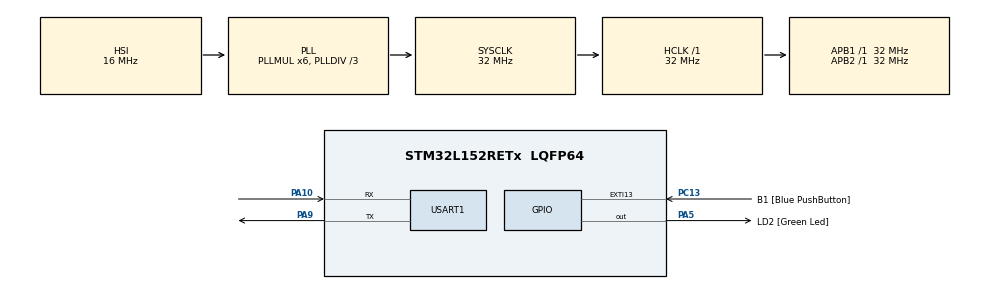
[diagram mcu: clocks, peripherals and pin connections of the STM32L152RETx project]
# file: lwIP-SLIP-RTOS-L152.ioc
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Dma.Request0=USART1_TX
Dma.USART1_TX.0.Direction=DMA_MEMORY_TO_PERIPH
Dma.USART1_TX.0.Instance=DMA1_Channel4
Dma.USART1_TX.0.MemDataAlignment=DMA_MDATAALIGN_BYTE
Dma.USART1_TX.0.MemInc=DMA_MINC_ENABLE
Dma.USART1_TX.0.Mode=DMA_NORMAL
Dma.USART1_TX.0.PeriphDataAlignment=DMA_PDATAALIGN_BYTE
Dma.USART1_TX.0.PeriphInc=DMA_PINC_DISABLE
Dma.USART1_TX.0.Priority=DMA_PRIORITY_LOW
FREERTOS.Tasks01=defaultTask,0,512,StartDefaultTask,Default,NULL,Dynamic,NULL,NULL
FREERTOS.configMINIMAL_STACK_SIZE=128
FREERTOS.configTOTAL_HEAP_SIZE=15360
FREERTOS.configUSE_NEWLIB_REENTRANT=1
Mcu.Family=STM32L1
Mcu.Name=STM32L152RETx
Mcu.Package=LQFP64
NVIC.DMA1_Channel4_IRQn=true\:5\:0\:false\:false\:true\:false\:false\:true\:true
NVIC.PriorityGroup=NVIC_PRIORITYGROUP_4
NVIC.TIM6_IRQn=true\:15\:0\:false\:false\:true\:false\:false\:true\:true
NVIC.TimeBase=TIM6_IRQn
NVIC.TimeBaseIP=TIM6
NVIC.USART1_IRQn=true\:0\:0\:true\:false\:true\:false\:true\:true\:true
PA10.Mode=Asynchronous
PA10.Signal=USART1_RX
PA13.GPIO_Label=TMS
PA13.Mode=Serial_Wire
PA13.Signal=SYS_JTMS-SWDIO
PA14.GPIO_Label=TCK
PA14.Mode=Serial_Wire
PA14.Signal=SYS_JTCK-SWCLK
PA2.GPIO_Label=USART_TX
PA2.Signal=USART2_TX
PA3.GPIO_Label=USART_RX
PA3.Signal=USART2_RX
PA5.GPIO_Label=LD2 [Green Led]
PA5.Signal=GPIO_Output
PA9.Mode=Asynchronous
PA9.Signal=USART1_TX
PB3.GPIO_Label=SWO
PB3.Signal=SYS_JTDO-TRACESWO
PC13-WKUP2.GPIO_Label=B1 [Blue PushButton]
PC13-WKUP2.Signal=GPXTI13
PC14-OSC32_IN.Mode=LSE-External-Oscillator
PC14-OSC32_IN.Signal=RCC_OSC32_IN
PC15-OSC32_OUT.Mode=LSE-External-Oscillator
PC15-OSC32_OUT.Signal=RCC_OSC32_OUT
PH0-OSC_IN.Mode=HSE-External-Clock-Source
PH0-OSC_IN.Signal=RCC_OSC_IN
PH1-OSC_OUT.Signal=RCC_OSC_OUT
ProjectManager.HeapSize=0x200
ProjectManager.StackSize=0x400
ProjectManager.TargetToolchain=STM32CubeIDE
RCC.48MHZClocksFreq_Value=48000000
RCC.AHBFreq_Value=32000000
RCC.APB1Freq_Value=32000000
RCC.APB1TimFreq_Value=32000000
RCC.APB2Freq_Value=32000000
RCC.APB2TimFreq_Value=32000000
RCC.HCLKFreq_Value=32000000
RCC.HSE_VALUE=8000000
RCC.HSI_VALUE=16000000
RCC.MSI_VALUE=2097000
RCC.PLLDIV=RCC_PLL_DIV3
RCC.PLLMUL=RCC_PLL_MUL6
RCC.RTCClockSelectionVirtual=RCC_RTCCLKSOURCE_LSE
RCC.SYSCLKFreq_VALUE=32000000
RCC.SYSCLKSource=RCC_SYSCLKSOURCE_PLLCLK
RCC.USBOutput=48000000
RCC.VCOOutputFreq_Value=96000000
USART1.VirtualMode=VM_ASYNC
VP_FREERTOS_VS_CMSIS_V1.Mode=CMSIS_V1
VP_SYS_VS_tim6.Mode=TIM6
board=NUCLEO-L152RE

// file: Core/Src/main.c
/* USER CODE BEGIN Header */
/**
  ******************************************************************************
  * @file           : main.c
  * @brief          : Main program body
  ******************************************************************************
  * @attention
  *
  * Copyright (c) 2025 STMicroelectronics.
  * All rights reserved.
  *
  * This software is licensed under terms that can be found in the LICENSE file
  * in the root directory of this software component.
  * If no LICENSE file comes with this software, it is provided AS-IS.
  *
  ******************************************************************************
  */
/* USER CODE END Header */
#include "main.h"
#include "cmsis_os.h"

/* USER CODE BEGIN Includes */
#include "lwip.h"
#include <string.h>
#include <stdio.h>
#include "pbuf.h"
#include "tcp.h"
#include "udp.h"
#include "lwip/apps/httpd.h"
#include "api.h"
#include "fs.h"
/* USER CODE END Includes */

/* USER CODE BEGIN PD */
#define UDP_CLIENT_PORT    7
#define TCP_CLIENT_PORT    8
/* USER CODE END PD */

UART_HandleTypeDef huart1;
DMA_HandleTypeDef hdma_usart1_tx;

osThreadId defaultTaskHandle;
/* USER CODE BEGIN PV */
extern u8_t rx_byte;
int a = 0;
/* USER CODE END PV */

void SystemClock_Config(void);
static void MX_GPIO_Init(void);
static void MX_DMA_Init(void);
static void MX_USART1_UART_Init(void);
void StartDefaultTask(void const * argument);

/* USER CODE BEGIN PFP */
void udp_echoserver_receive_callback(void *arg, struct udp_pcb *upcb, struct pbuf *p, const ip_addr_t *addr, u16_t port);
void udp_echoserver_init(void);
err_t tcp_echo_accept(void *arg, struct tcp_pcb *newpcb, err_t err);
err_t tcp_echo_recv(void *arg, struct tcp_pcb *tpcb, struct pbuf *p, err_t err);
void tcp_echo_close(struct tcp_pcb *tpcb);
void tcp_echoserver_init(void);
/* USER CODE END PFP */

int main(void)
{

  /* MCU Configuration--------------------------------------------------------*/

  /* Reset of all peripherals, Initializes the Flash interface and the Systick. */
  HAL_Init();

  /* Configure the system clock */
  SystemClock_Config();

  /* Initialize all configured peripherals */
  MX_GPIO_Init();
  MX_DMA_Init();
  MX_USART1_UART_Init();
  /* USER CODE BEGIN 2 */

  HAL_UART_Receive_IT(&huart1, &rx_byte, 1);
  /* USER CODE END 2 */

  /* Create the thread(s) */
  /* definition and creation of defaultTask */
  osThreadDef(defaultTask, StartDefaultTask, osPriorityNormal, 0, 512);
  defaultTaskHandle = osThreadCreate(osThread(defaultTask), NULL);

  /* Start scheduler */
  osKernelStart();

  /* We should never get here as control is now taken by the scheduler */

  /* Infinite loop */
  while (1)
  {

  }
}

void SystemClock_Config(void)
{
  RCC_OscInitTypeDef RCC_OscInitStruct = {0};
  RCC_ClkInitTypeDef RCC_ClkInitStruct = {0};

  /** Configure the main internal regulator output voltage
  */
  __HAL_PWR_VOLTAGESCALING_CONFIG(PWR_REGULATOR_VOLTAGE_SCALE1);

  /** Initializes the RCC Oscillators according to the specified parameters
  * in the RCC_OscInitTypeDef structure.
  */
  RCC_OscInitStruct.OscillatorType = RCC_OSCILLATORTYPE_HSI;
  RCC_OscInitStruct.HSIState = RCC_HSI_ON;
  RCC_OscInitStruct.HSICalibrationValue = RCC_HSICALIBRATION_DEFAULT;
  RCC_OscInitStruct.PLL.PLLState = RCC_PLL_ON;
  RCC_OscInitStruct.PLL.PLLSource = RCC_PLLSOURCE_HSI;
  RCC_OscInitStruct.PLL.PLLMUL = RCC_PLL_MUL6;
  RCC_OscInitStruct.PLL.PLLDIV = RCC_PLL_DIV3;
  if (HAL_RCC_OscConfig(&RCC_OscInitStruct) != HAL_OK)
  {
    Error_Handler();
  }

  /** Initializes the CPU, AHB and APB buses clocks
  */
  RCC_ClkInitStruct.ClockType = RCC_CLOCKTYPE_HCLK|RCC_CLOCKTYPE_SYSCLK
                              |RCC_CLOCKTYPE_PCLK1|RCC_CLOCKTYPE_PCLK2;
  RCC_ClkInitStruct.SYSCLKSource = RCC_SYSCLKSOURCE_PLLCLK;
  RCC_ClkInitStruct.AHBCLKDivider = RCC_SYSCLK_DIV1;
  RCC_ClkInitStruct.APB1CLKDivider = RCC_HCLK_DIV1;
  RCC_ClkInitStruct.APB2CLKDivider = RCC_HCLK_DIV1;

  if (HAL_RCC_ClockConfig(&RCC_ClkInitStruct, FLASH_LATENCY_1) != HAL_OK)
  {
    Error_Handler();
  }
}

static void MX_USART1_UART_Init(void)
{

  huart1.Instance = USART1;
  huart1.Init.BaudRate = 115200;
  huart1.Init.WordLength = UART_WORDLENGTH_8B;
  huart1.Init.StopBits = UART_STOPBITS_1;
  huart1.Init.Parity = UART_PARITY_NONE;
  huart1.Init.Mode = UART_MODE_TX_RX;
  huart1.Init.HwFlowCtl = UART_HWCONTROL_NONE;
  huart1.Init.OverSampling = UART_OVERSAMPLING_16;
  if (HAL_UART_Init(&huart1) != HAL_OK)
  {
    Error_Handler();
  }

}

static void MX_DMA_Init(void)
{

  /* DMA controller clock enable */
  __HAL_RCC_DMA1_CLK_ENABLE();

  /* DMA interrupt init */
  /* DMA1_Channel4_IRQn interrupt configuration */
  HAL_NVIC_SetPriority(DMA1_Channel4_IRQn, 5, 0);
  HAL_NVIC_EnableIRQ(DMA1_Channel4_IRQn);

}

static void MX_GPIO_Init(void)
{
  GPIO_InitTypeDef GPIO_InitStruct = {0};

  /* GPIO Ports Clock Enable */
  __HAL_RCC_GPIOC_CLK_ENABLE();
  __HAL_RCC_GPIOH_CLK_ENABLE();
  __HAL_RCC_GPIOA_CLK_ENABLE();
  __HAL_RCC_GPIOB_CLK_ENABLE();

  /*Configure GPIO pin Output Level */
  HAL_GPIO_WritePin(LD2_GPIO_Port, LD2_Pin, GPIO_PIN_RESET);

  /*Configure GPIO pin : B1_Pin */
  GPIO_InitStruct.Pin = B1_Pin;
  GPIO_InitStruct.Mode = GPIO_MODE_IT_RISING;
  GPIO_InitStruct.Pull = GPIO_NOPULL;
  HAL_GPIO_Init(B1_GPIO_Port, &GPIO_InitStruct);

  /*Configure GPIO pins : USART_TX_Pin USART_RX_Pin */
  GPIO_InitStruct.Pin = USART_TX_Pin|USART_RX_Pin;
  GPIO_InitStruct.Mode = GPIO_MODE_AF_PP;
  GPIO_InitStruct.Pull = GPIO_NOPULL;
  GPIO_InitStruct.Speed = GPIO_SPEED_FREQ_VERY_HIGH;
  GPIO_InitStruct.Alternate = GPIO_AF7_USART2;
  HAL_GPIO_Init(GPIOA, &GPIO_InitStruct);

  /*Configure GPIO pin : LD2_Pin */
  GPIO_InitStruct.Pin = LD2_Pin;
  GPIO_InitStruct.Mode = GPIO_MODE_OUTPUT_PP;
  GPIO_InitStruct.Pull = GPIO_NOPULL;
  GPIO_InitStruct.Speed = GPIO_SPEED_FREQ_LOW;
  HAL_GPIO_Init(LD2_GPIO_Port, &GPIO_InitStruct);

}

/* USER CODE BEGIN 4 */
void udp_echoserver_init(void)
{
   struct udp_pcb *upcb;
   err_t err;

   /* Create a new UDP control block  */
   upcb = udp_new();

   if (upcb)
   {
     /* Bind the upcb to the UDP_PORT port */
     /* Using IP_ADDR_ANY allow the upcb to be used by any local interface */
      err = udp_bind(upcb, IP_ADDR_ANY, UDP_CLIENT_PORT);

      if(err == ERR_OK)
      {
        /* Set a receive callback for the upcb */
        udp_recv(upcb, udp_echoserver_receive_callback, NULL);
      }
   }
}

void udp_echoserver_receive_callback(void *arg, struct udp_pcb *upcb, struct pbuf *p, const ip_addr_t *addr, u16_t port)
{

  /* Connect to the remote client */
  udp_connect(upcb, addr, UDP_CLIENT_PORT);

  /* Tell the client that we have accepted it */
  udp_sendto(upcb, p, addr, port);

  /* free the UDP connection, so we can accept new clients */
  udp_disconnect(upcb);

  /* Free the p buffer */
  pbuf_free(p);

}

void tcp_echoserver_init(void) {
    struct tcp_pcb *pcb;

    pcb = tcp_new();
    if (pcb == NULL) {
        return;
    }

    if (tcp_bind(pcb, IP_ADDR_ANY, TCP_CLIENT_PORT) != ERR_OK) {
        return;
    }

    pcb = tcp_listen(pcb);

    tcp_accept(pcb, tcp_echo_accept);
}

err_t tcp_echo_accept(void *arg, struct tcp_pcb *newpcb, err_t err) {
    tcp_recv(newpcb, tcp_echo_recv);
    return ERR_OK;
}

void tcp_echo_close(struct tcp_pcb *tpcb) {
    tcp_arg(tpcb, NULL);
    tcp_sent(tpcb, NULL);
    tcp_recv(tpcb, NULL);
    tcp_err(tpcb, NULL);
    tcp_close(tpcb);
}

err_t tcp_echo_recv(void *arg, struct tcp_pcb *tpcb, struct pbuf *p, err_t err) {
    if (p == NULL) {
        tcp_echo_close(tpcb);
        return ERR_OK;
    }

    // Gelen veriyi geri gönder (Echo)
    tcp_write(tpcb, p->payload, p->len, TCP_WRITE_FLAG_COPY);

    // Belleği temizle
    pbuf_free(p);

    return ERR_OK;
}
/* USER CODE END 4 */

void StartDefaultTask(void const * argument)
{
  /* USER CODE BEGIN 5 */
	MX_LWIP_Init();
	udp_echoserver_init();
	tcp_echoserver_init();
	httpd_init();
  /* Infinite loop */
  for(;;)
  {
    osDelay(1);
  }
  /* USER CODE END 5 */
}

void HAL_TIM_PeriodElapsedCallback(TIM_HandleTypeDef *htim)
{
  if (htim->Instance == TIM6) {
    HAL_IncTick();
  }
}

void Error_Handler(void)
{
  __disable_irq();
  while (1)
  {
  }
}
